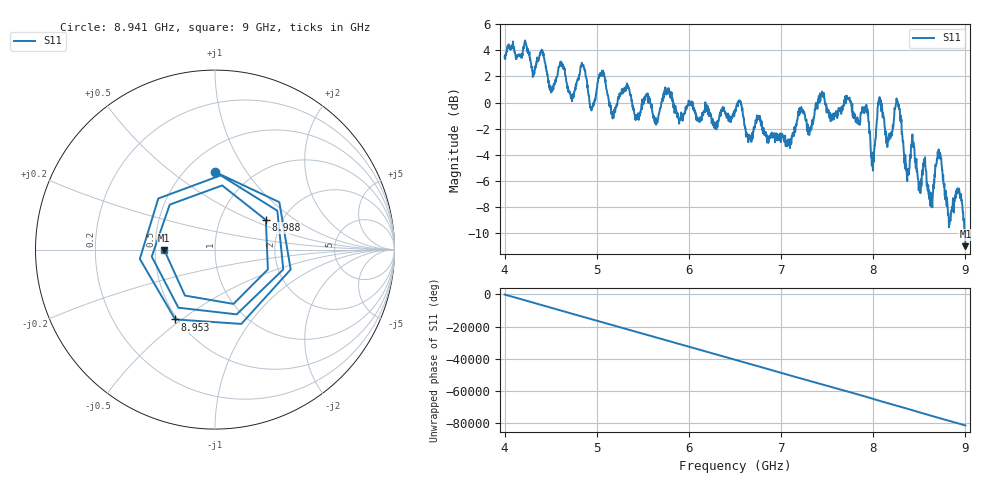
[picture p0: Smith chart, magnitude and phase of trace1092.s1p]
! Created with skrf 1.8.0 (http://scikit-rf.org).
# Hz S RI R 50.0
!freq ReS11 ImS11
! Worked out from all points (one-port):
!   1601 points, 4 GHz to 9 GHz, reference 50 ohm
!   lowest |S11| = -11.0 dB at 9 GHz (marker M1), VSWR 1.79, Z = 28 - j0.14 ohm
!   |S11| at or under -10 dB: 8.990637 GHz to 8.991938 GHz (1.301 MHz wide, 0.0145 % of centre); 8.994753 GHz to end of sweep
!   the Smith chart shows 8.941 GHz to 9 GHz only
!   S11 on the Smith chart (normalised r, x): 8.941 GHz: 0.69, +0.73; 8.953 GHz: 0.49, -0.47; 8.988 GHz: 1.65, +0.61; 9 GHz: 0.56, -0.00
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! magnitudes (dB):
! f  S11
! 4 GHz  3.4
! 4.406 GHz  4.0
! 4.506 GHz  0.9
! 4.625 GHz  3.0
! 4.728 GHz  0.5
! 4.85 GHz  2.8
! 4.947 GHz  -0.3
! 5.053 GHz  2.1
! 5.162 GHz  -0.9
! 5.25 GHz  0.5
! 5.875 GHz  -1.1
! 6.5 GHz  -0.7
! 7.125 GHz  -2.3
! 7.75 GHz  0.1
! 7.925 GHz  -0.2
! 7.994 GHz  -4.9
! 8.069 GHz  0.4
! 8.169 GHz  -2.9
! 8.262 GHz  0.1
! 8.375 GHz  -5.1
! 8.434 GHz  -3.1
! 8.625 GHz  -7.5
! 8.716 GHz  -4.0
! 8.822 GHz  -9.5
! 8.941 GHz  -7.3
! 8.953 GHz  -7.0
! 8.988 GHz  -9.7
! 9 GHz  -11.0
